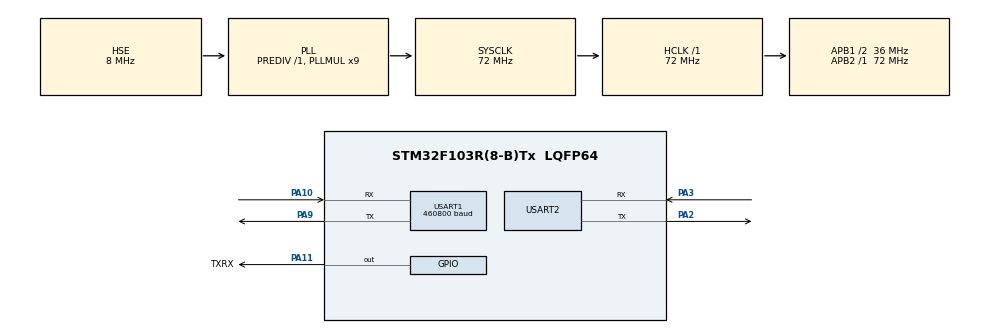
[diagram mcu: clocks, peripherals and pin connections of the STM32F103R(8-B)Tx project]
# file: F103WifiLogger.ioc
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Dma.Request0=USART2_RX
Dma.Request1=USART2_TX
Dma.USART2_RX.0.Direction=DMA_PERIPH_TO_MEMORY
Dma.USART2_RX.0.Instance=DMA1_Channel6
Dma.USART2_RX.0.MemDataAlignment=DMA_MDATAALIGN_BYTE
Dma.USART2_RX.0.MemInc=DMA_MINC_ENABLE
Dma.USART2_RX.0.Mode=DMA_NORMAL
Dma.USART2_RX.0.PeriphDataAlignment=DMA_PDATAALIGN_BYTE
Dma.USART2_RX.0.PeriphInc=DMA_PINC_DISABLE
Dma.USART2_RX.0.Priority=DMA_PRIORITY_LOW
Dma.USART2_TX.1.Direction=DMA_MEMORY_TO_PERIPH
Dma.USART2_TX.1.Instance=DMA1_Channel7
Dma.USART2_TX.1.MemDataAlignment=DMA_MDATAALIGN_BYTE
Dma.USART2_TX.1.MemInc=DMA_MINC_ENABLE
Dma.USART2_TX.1.Mode=DMA_NORMAL
Dma.USART2_TX.1.PeriphDataAlignment=DMA_PDATAALIGN_BYTE
Dma.USART2_TX.1.PeriphInc=DMA_PINC_DISABLE
Dma.USART2_TX.1.Priority=DMA_PRIORITY_LOW
FREERTOS.Queues01=uartRxQueue,2,uartRxData_t,0,Static,uartRxQBuffer,uartRxQControlBlock;uartTxQueue,2,uartTxData_t,0,Static,uartTxQueueBuffer,uartTxQueueControlBlock;replyQ,3,uint16_t,0,Static,replyQBuffer,replyQControlBlock
FREERTOS.Tasks01=defaultTask,24,256,StartDefaultTask,Default,NULL,Dynamic,NULL,NULL;parcer,24,512,parcerTask,As external,NULL,Static,parcerTaskBuffer,parcerTaskControlBlock;uartTx,24,256,uartTxTask,As external,NULL,Static,uartTxBuffer,uartTxControlBlock
FREERTOS.Timers01=espTimer,espTimerCallback,osTimerOnce,Default,NULL,Static,espTimerControlBlock
FREERTOS.configTIMER_TASK_PRIORITY=6
FREERTOS.configTOTAL_HEAP_SIZE=2048
FREERTOS.configUSE_NEWLIB_REENTRANT=1
Mcu.Family=STM32F1
Mcu.Name=STM32F103R(8-B)Tx
Mcu.Package=LQFP64
NVIC.DMA1_Channel6_IRQn=true\:5\:0\:false\:false\:true\:true\:false\:true\:true
NVIC.DMA1_Channel7_IRQn=true\:5\:0\:false\:false\:true\:true\:false\:true\:true
NVIC.PriorityGroup=NVIC_PRIORITYGROUP_4
NVIC.RCC_IRQn=true\:5\:0\:false\:false\:true\:true\:true\:false\:true
NVIC.TIM4_IRQn=true\:15\:0\:false\:false\:true\:false\:false\:true\:true
NVIC.TimeBase=TIM4_IRQn
NVIC.TimeBaseIP=TIM4
NVIC.USART1_IRQn=true\:5\:0\:false\:false\:true\:true\:true\:true\:true
NVIC.USART2_IRQn=true\:5\:0\:false\:false\:true\:true\:true\:true\:true
PA10.Mode=Asynchronous
PA10.Signal=USART1_RX
PA11.GPIO_Label=TXRX
PA11.Signal=GPIO_Output
PA13.Mode=Serial_Wire
PA13.Signal=SYS_JTMS-SWDIO
PA14.Mode=Serial_Wire
PA14.Signal=SYS_JTCK-SWCLK
PA2.Mode=Asynchronous
PA2.Signal=USART2_TX
PA3.Mode=Asynchronous
PA3.Signal=USART2_RX
PA9.Mode=Asynchronous
PA9.Signal=USART1_TX
PD0-OSC_IN.Mode=HSE-External-Oscillator
PD0-OSC_IN.Signal=RCC_OSC_IN
PD1-OSC_OUT.Mode=HSE-External-Oscillator
PD1-OSC_OUT.Signal=RCC_OSC_OUT
ProjectManager.HeapSize=0x200
ProjectManager.StackSize=0x400
ProjectManager.TargetToolchain=STM32CubeIDE
RCC.AHBFreq_Value=72000000
RCC.APB1CLKDivider=RCC_HCLK_DIV2
RCC.APB1Freq_Value=36000000
RCC.APB1TimFreq_Value=72000000
RCC.APB2Freq_Value=72000000
RCC.APB2TimFreq_Value=72000000
RCC.HCLKFreq_Value=72000000
RCC.PLLMUL=RCC_PLL_MUL9
RCC.PLLSourceVirtual=RCC_PLLSOURCE_HSE
RCC.SYSCLKFreq_VALUE=72000000
RCC.SYSCLKSource=RCC_SYSCLKSOURCE_PLLCLK
RCC.USBFreq_Value=72000000
USART1.BaudRate=460800
USART1.VirtualMode=VM_ASYNC
USART2.VirtualMode=VM_ASYNC
VP_FREERTOS_VS_CMSIS_V2.Mode=CMSIS_V2
VP_SYS_VS_tim4.Mode=TIM4
board=custom

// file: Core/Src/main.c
/* USER CODE BEGIN Header */
/**
 ******************************************************************************
 * @file           : main.c
 * @brief          : Main program body
 ******************************************************************************
 * @attention
 *
 * Copyright (c) 2023 STMicroelectronics.
 * All rights reserved.
 *
 * This software is licensed under terms that can be found in the LICENSE file
 * in the root directory of this software component.
 * If no LICENSE file comes with this software, it is provided AS-IS.
 *
 ******************************************************************************
 */
/* USER CODE END Header */
#include "main.h"
#include "cmsis_os.h"

/* USER CODE BEGIN Includes */
#include "esp8266.h"
#include <stdio.h>
#include <string.h>
/* USER CODE END Includes */

typedef StaticTask_t osStaticThreadDef_t;
typedef StaticQueue_t osStaticMessageQDef_t;
typedef StaticTimer_t osStaticTimerDef_t;

UART_HandleTypeDef huart1;
UART_HandleTypeDef huart2;
DMA_HandleTypeDef hdma_usart2_rx;
DMA_HandleTypeDef hdma_usart2_tx;

/* Definitions for defaultTask */
osThreadId_t defaultTaskHandle;
const osThreadAttr_t defaultTask_attributes = {
  .name = "defaultTask",
  .stack_size = 256 * 4,
  .priority = (osPriority_t) osPriorityNormal,
};
/* Definitions for parcer */
osThreadId_t parcerHandle;
uint32_t parcerTaskBuffer[ 512 ];
osStaticThreadDef_t parcerTaskControlBlock;
const osThreadAttr_t parcer_attributes = {
  .name = "parcer",
  .cb_mem = &parcerTaskControlBlock,
  .cb_size = sizeof(parcerTaskControlBlock),
  .stack_mem = &parcerTaskBuffer[0],
  .stack_size = sizeof(parcerTaskBuffer),
  .priority = (osPriority_t) osPriorityNormal,
};
/* Definitions for uartTx */
osThreadId_t uartTxHandle;
uint32_t uartTxBuffer[ 256 ];
osStaticThreadDef_t uartTxControlBlock;
const osThreadAttr_t uartTx_attributes = {
  .name = "uartTx",
  .cb_mem = &uartTxControlBlock,
  .cb_size = sizeof(uartTxControlBlock),
  .stack_mem = &uartTxBuffer[0],
  .stack_size = sizeof(uartTxBuffer),
  .priority = (osPriority_t) osPriorityNormal,
};
/* Definitions for uartRxQueue */
osMessageQueueId_t uartRxQueueHandle;
uint8_t uartRxQBuffer[ 2 * sizeof( uartRxData_t ) ];
osStaticMessageQDef_t uartRxQControlBlock;
const osMessageQueueAttr_t uartRxQueue_attributes = {
  .name = "uartRxQueue",
  .cb_mem = &uartRxQControlBlock,
  .cb_size = sizeof(uartRxQControlBlock),
  .mq_mem = &uartRxQBuffer,
  .mq_size = sizeof(uartRxQBuffer)
};
/* Definitions for uartTxQueue */
osMessageQueueId_t uartTxQueueHandle;
uint8_t uartTxQueueBuffer[ 2 * sizeof( uartTxData_t ) ];
osStaticMessageQDef_t uartTxQueueControlBlock;
const osMessageQueueAttr_t uartTxQueue_attributes = {
  .name = "uartTxQueue",
  .cb_mem = &uartTxQueueControlBlock,
  .cb_size = sizeof(uartTxQueueControlBlock),
  .mq_mem = &uartTxQueueBuffer,
  .mq_size = sizeof(uartTxQueueBuffer)
};
/* Definitions for replyQ */
osMessageQueueId_t replyQHandle;
uint8_t replyQBuffer[ 3 * sizeof( uint16_t ) ];
osStaticMessageQDef_t replyQControlBlock;
const osMessageQueueAttr_t replyQ_attributes = {
  .name = "replyQ",
  .cb_mem = &replyQControlBlock,
  .cb_size = sizeof(replyQControlBlock),
  .mq_mem = &replyQBuffer,
  .mq_size = sizeof(replyQBuffer)
};
/* Definitions for espTimer */
osTimerId_t espTimerHandle;
osStaticTimerDef_t espTimerControlBlock;
const osTimerAttr_t espTimer_attributes = {
  .name = "espTimer",
  .cb_mem = &espTimerControlBlock,
  .cb_size = sizeof(espTimerControlBlock),
};
/* USER CODE BEGIN PV */
uint8_t statusFlag = 0;
uint8_t initFlag = 0;
uint16_t espSecCounter = 0;
uint8_t espPingFlag = 0;
/* USER CODE END PV */

void SystemClock_Config(void);
static void MX_GPIO_Init(void);
static void MX_DMA_Init(void);
static void MX_USART1_UART_Init(void);
void StartDefaultTask(void *argument);
extern void parcerTask(void *argument);
extern void uartTxTask(void *argument);
void espTimerCallback(void *argument);

int main(void)
{

  /* MCU Configuration--------------------------------------------------------*/

  /* Reset of all peripherals, Initializes the Flash interface and the Systick. */
  HAL_Init();

  /* Configure the system clock */
  SystemClock_Config();

  /* Initialize all configured peripherals */
  MX_GPIO_Init();
  MX_DMA_Init();
  MX_USART1_UART_Init();
  /* USER CODE BEGIN 2 */

	HAL_GPIO_WritePin(TXRX_GPIO_Port, TXRX_Pin, SET);

  /* USER CODE END 2 */

  /* Init scheduler */
  osKernelInitialize();

  /* Create the timer(s) */
  /* creation of espTimer */
  espTimerHandle = osTimerNew(espTimerCallback, osTimerOnce, NULL, &espTimer_attributes);

  /* Create the queue(s) */
  /* creation of uartRxQueue */
  uartRxQueueHandle = osMessageQueueNew (2, sizeof(uartRxData_t), &uartRxQueue_attributes);

  /* creation of uartTxQueue */
  uartTxQueueHandle = osMessageQueueNew (2, sizeof(uartTxData_t), &uartTxQueue_attributes);

  /* creation of replyQ */
  replyQHandle = osMessageQueueNew (3, sizeof(uint16_t), &replyQ_attributes);

  /* Create the thread(s) */
  /* creation of defaultTask */
  defaultTaskHandle = osThreadNew(StartDefaultTask, NULL, &defaultTask_attributes);

  /* creation of parcer */
  parcerHandle = osThreadNew(parcerTask, NULL, &parcer_attributes);

  /* creation of uartTx */
  uartTxHandle = osThreadNew(uartTxTask, NULL, &uartTx_attributes);

  /* Start scheduler */
  osKernelStart();

  /* We should never get here as control is now taken by the scheduler */
  /* Infinite loop */
	while (1) {

	}
}

void SystemClock_Config(void)
{
  RCC_OscInitTypeDef RCC_OscInitStruct = {0};
  RCC_ClkInitTypeDef RCC_ClkInitStruct = {0};

  /** Initializes the RCC Oscillators according to the specified parameters
  * in the RCC_OscInitTypeDef structure.
  */
  RCC_OscInitStruct.OscillatorType = RCC_OSCILLATORTYPE_HSE;
  RCC_OscInitStruct.HSEState = RCC_HSE_ON;
  RCC_OscInitStruct.HSEPredivValue = RCC_HSE_PREDIV_DIV1;
  RCC_OscInitStruct.HSIState = RCC_HSI_ON;
  RCC_OscInitStruct.PLL.PLLState = RCC_PLL_ON;
  RCC_OscInitStruct.PLL.PLLSource = RCC_PLLSOURCE_HSE;
  RCC_OscInitStruct.PLL.PLLMUL = RCC_PLL_MUL9;
  if (HAL_RCC_OscConfig(&RCC_OscInitStruct) != HAL_OK)
  {
    Error_Handler();
  }

  /** Initializes the CPU, AHB and APB buses clocks
  */
  RCC_ClkInitStruct.ClockType = RCC_CLOCKTYPE_HCLK|RCC_CLOCKTYPE_SYSCLK
                              |RCC_CLOCKTYPE_PCLK1|RCC_CLOCKTYPE_PCLK2;
  RCC_ClkInitStruct.SYSCLKSource = RCC_SYSCLKSOURCE_PLLCLK;
  RCC_ClkInitStruct.AHBCLKDivider = RCC_SYSCLK_DIV1;
  RCC_ClkInitStruct.APB1CLKDivider = RCC_HCLK_DIV2;
  RCC_ClkInitStruct.APB2CLKDivider = RCC_HCLK_DIV1;

  if (HAL_RCC_ClockConfig(&RCC_ClkInitStruct, FLASH_LATENCY_2) != HAL_OK)
  {
    Error_Handler();
  }
}

static void MX_USART1_UART_Init(void)
{

  huart1.Instance = USART1;
  huart1.Init.BaudRate = 460800;
  huart1.Init.WordLength = UART_WORDLENGTH_8B;
  huart1.Init.StopBits = UART_STOPBITS_1;
  huart1.Init.Parity = UART_PARITY_NONE;
  huart1.Init.Mode = UART_MODE_TX_RX;
  huart1.Init.HwFlowCtl = UART_HWCONTROL_NONE;
  huart1.Init.OverSampling = UART_OVERSAMPLING_16;
  if (HAL_UART_Init(&huart1) != HAL_OK)
  {
    Error_Handler();
  }

}

void MX_USART2_UART_Init(void)
{

  huart2.Instance = USART2;
  huart2.Init.BaudRate = 115200;
  huart2.Init.WordLength = UART_WORDLENGTH_8B;
  huart2.Init.StopBits = UART_STOPBITS_1;
  huart2.Init.Parity = UART_PARITY_NONE;
  huart2.Init.Mode = UART_MODE_TX_RX;
  huart2.Init.HwFlowCtl = UART_HWCONTROL_NONE;
  huart2.Init.OverSampling = UART_OVERSAMPLING_16;
  if (HAL_UART_Init(&huart2) != HAL_OK)
  {
    Error_Handler();
  }

}

static void MX_DMA_Init(void)
{

  /* DMA controller clock enable */
  __HAL_RCC_DMA1_CLK_ENABLE();

  /* DMA interrupt init */
  /* DMA1_Channel6_IRQn interrupt configuration */
  HAL_NVIC_SetPriority(DMA1_Channel6_IRQn, 5, 0);
  HAL_NVIC_EnableIRQ(DMA1_Channel6_IRQn);
  /* DMA1_Channel7_IRQn interrupt configuration */
  HAL_NVIC_SetPriority(DMA1_Channel7_IRQn, 5, 0);
  HAL_NVIC_EnableIRQ(DMA1_Channel7_IRQn);

}

static void MX_GPIO_Init(void)
{
  GPIO_InitTypeDef GPIO_InitStruct = {0};

  /* GPIO Ports Clock Enable */
  __HAL_RCC_GPIOD_CLK_ENABLE();
  __HAL_RCC_GPIOA_CLK_ENABLE();

  /*Configure GPIO pin Output Level */
  HAL_GPIO_WritePin(TXRX_GPIO_Port, TXRX_Pin, GPIO_PIN_RESET);

  /*Configure GPIO pin : TXRX_Pin */
  GPIO_InitStruct.Pin = TXRX_Pin;
  GPIO_InitStruct.Mode = GPIO_MODE_OUTPUT_PP;
  GPIO_InitStruct.Pull = GPIO_NOPULL;
  GPIO_InitStruct.Speed = GPIO_SPEED_FREQ_LOW;
  HAL_GPIO_Init(TXRX_GPIO_Port, &GPIO_InitStruct);

}

/* USER CODE BEGIN 4 */
int _write(int file, char *ptr, int len) {
	(void) file;
	HAL_UART_Transmit(&huart1, (const uint8_t*) ptr, len, 100);
	return len;
}
/* USER CODE END 4 */

void StartDefaultTask(void *argument)
{
  /* USER CODE BEGIN 5 */

	osDelay(2000);
	MX_USART2_UART_Init();
	HAL_UARTEx_ReceiveToIdle_DMA(&huart2, espHandler.uartRxBuf.buffer,
			UART2RX_BUFFER_SIZE);
	memset ((uint8_t*)espHandler.uartRxBuf.buffer, 0, UART2RX_BUFFER_SIZE);
	initFlag = 1;
	/* Infinite loop */
	for (;;) {
		if (initFlag) {
			initFlag = 0;
			esp8266Init();
		}
		if (espPingFlag){
			espPingFlag = 0;
	    	uartTxDataQueueSendFromIsr((uint8_t*)"ping", 4);
	    	osTimerStart(espTimerHandle, 5000);
		}
		osDelay(1);
	}
  /* USER CODE END 5 */
}

/* espTimerCallback function */
void espTimerCallback(void *argument)
{
  /* USER CODE BEGIN espTimerCallback */
	initFlag = 1;
  /* USER CODE END espTimerCallback */
}

void HAL_TIM_PeriodElapsedCallback(TIM_HandleTypeDef *htim)
{
  /* USER CODE BEGIN Callback 0 */
	static uint16_t espCounter = 0;

  /* USER CODE END Callback 0 */
  if (htim->Instance == TIM4) {
    HAL_IncTick();
  }
  /* USER CODE BEGIN Callback 1 */
  if (htim->Instance == TIM4) {
    if (espCounter++ > 999) {
    	espCounter = 0;
    	espSecCounter++;
    }
    if (espSecCounter > 9) {
    	espSecCounter = 0;
    	espPingFlag = 1;
    }
  }
  /* USER CODE END Callback 1 */
}

void Error_Handler(void)
{
	__disable_irq();
	while (1) {
	}
}
